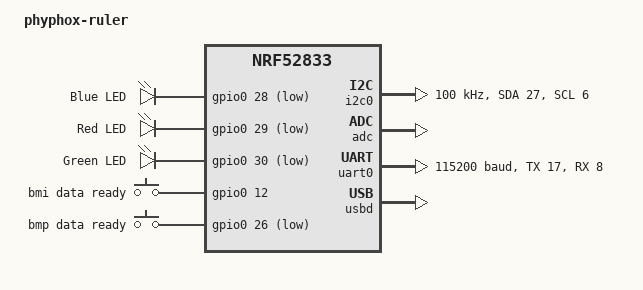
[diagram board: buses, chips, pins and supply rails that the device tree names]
/*
 * Copyright (c) 2017 Linaro Limited
 *
 * SPDX-License-Identifier: Apache-2.0
 */

 /dts-v1/;
 #include <nordic/nrf52833_qiaa.dtsi>
 
 / {
	 model = "phyphox-ruler";
	 compatible = "phyphox,ruler-p1";
	 aliases {
		i2c = &i2c0;
		led-blue = &led0;
		led-red = &led1;
		led-green = &led2;
	 };
 
	 chosen {
		 zephyr,console = &uart0;
		 zephyr,shell-uart = &uart0;
		 zephyr,uart-mcumgr = &uart0;
		 zephyr,bt-mon-uart = &uart0;
		 zephyr,bt-c2h-uart = &uart0;
		 zephyr,sram = &sram0;
		 zephyr,flash = &flash0;
		 zephyr,code-partition = &slot0_partition;
	 };
 
	 leds {
		 compatible = "gpio-leds";
		 led0: led_0 {
			 gpios = <&gpio0 28 GPIO_ACTIVE_LOW>;
			 label = "Blue LED";
		 };
		 led1: led_1 {
			 gpios = <&gpio0 29 GPIO_ACTIVE_LOW>;
			 label = "Red LED";
		 };
		 led2: led_2 {
			gpios = <&gpio0 30 GPIO_ACTIVE_LOW>;
			label = "Green LED";
		};		 
	 };
	buttons {
		compatible = "gpio-keys";
		button0: button_0 { // INT1 P0.12 Gpio 15 ; INT2 P0.11 GPIO14
			gpios = <&gpio0 12 (GPIO_ACTIVE_HIGH)>;
			label = "bmi data ready";
		};
		button1: button_1 { // gpio33 P0.26
			gpios = <&gpio0 26 (GPIO_ACTIVE_LOW)>;
			label = "bmp data ready";
		};
	};
 };

 i2c_0: &i2c0 {
    compatible = "nordic,nrf-twim";
    status = "okay";
    sda-pin = < 27 >;
    scl-pin = < 6 >;
    label = "i2c";
    clock-frequency = <I2C_BITRATE_STANDARD>;
};

 
 &adc {
	 status = "okay";
 };
 
 &gpiote {
	 status = "okay";
 };
 
 &gpio0 {
	 status = "okay";
 };
 
 &gpio1 {
	 status = "okay";
 };
 
 &uart0 {
	 compatible = "nordic,nrf-uarte";
	 status = "okay";
	 current-speed = <115200>;
	 tx-pin = <17>;
	 rx-pin = <8>;
	 rts-pin = <5>;
	 cts-pin = <7>;
 };
 
 &flash0 {
 
	partitions {
		compatible = "fixed-partitions";
		#address-cells = <1>;
		#size-cells = <1>;

		boot_partition: partition@0 {
			label = "mcuboot";
			reg = <0x00000000 0xC000>;
		};
		slot0_partition: partition@c000 {
			label = "image-0";
			reg = <0x0000C000 0x37000>;
		};
		slot1_partition: partition@43000 {
			label = "image-1";
			reg = <0x00043000 0x37000>;
		};
		storage_partition: partition@7a000 {
			label = "storage";
			reg = <0x0007A000 0x00006000>;
		};
	};
 };
 
 &usbd {
	 compatible = "nordic,nrf-usbd";
	 status = "okay";
 };
 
